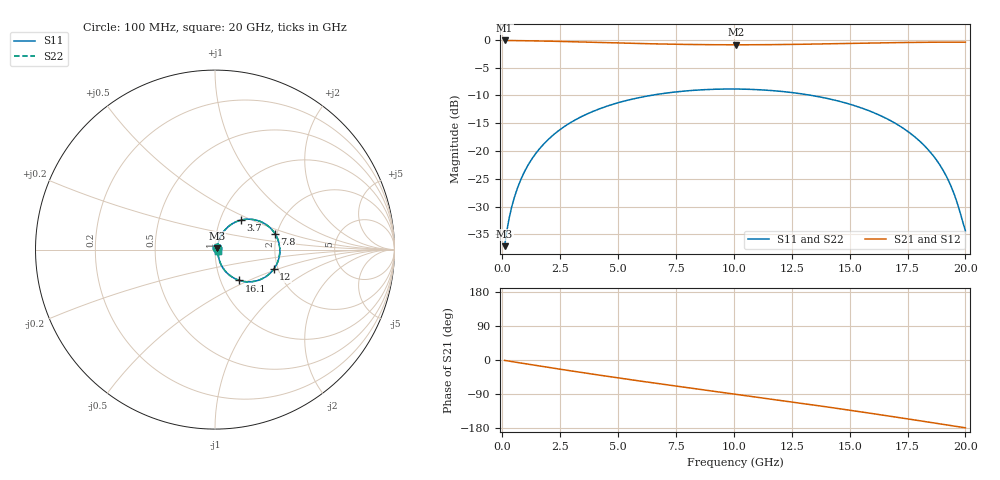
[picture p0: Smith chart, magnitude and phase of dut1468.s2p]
! Touchstone file exported from HFSS 2026.1.0
!  File:  C:/ffzhzh/LocalFiles/Ansys_Project_Files/temp_train_TSV_RDL_1468_1783361210_4416.aedt
!  Generated:  02:16:34 AM Jul  7, 2026
!  Design:  TSV_RDL
!  Project:  temp_train_TSV_RDL_1468_1783361210_4416
! Variables:
!  h_bsmrdl = 3.64um
!  h_ox = 20um
!  h_rdl = 5um
!  h_sub = 53.32um
!  h_tmrdl = 5.49um
!  h_tsv = 53.32um
!  h_via = 3um
!  l_bsmrdl = 474.21um
!  l_sub = 3226.39um
!  l_tmrdl = 316.2um
!  m_sub = 200um
!  pitch = 37.65um
!  r_tsv = 6.74um
!  s_tmrdl = 10um
!  w_bsmrdl = 22.63um
!  w_sub = 500um
!  w_tmrdl = 23.69um
!  x_tsv_center1 = 328.045um
!  x_tsv_center2 = 824.885um
!  x_tsv_center3 = 1164.775um
!  x_tsv_center4 = 1661.615um
!  x_tsv_center5 = 2001.505um
!  x_tsv_center6 = 2498.345um
# GHz S MA R 50.000000
! Terminal data exported
! Port[1] = TM_RDL1_1_T1
! Port[2] = TM_RDL5_1_T1
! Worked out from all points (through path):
!   200 points, 100 MHz to 20 GHz, reference 50 ohm
!   highest |S21| = -0.10 dB at 100 MHz (marker M1); lowest = -0.9 dB at 10.1 GHz (marker M2)
!   group delay of S21, straight-line fit = 24.3 ps
!   lowest |S11| = -37.1 dB at 100 MHz (marker M3), VSWR 1.03, Z = 51.2 + j0.768 ohm
!   |S11| at or under -10 dB: start of sweep to 6.405 GHz; 13.37 GHz to end of sweep
!   |S22| runs from -37.1 to -8.8 dB; largest |S21 - S12| = 1e-12
!   S11 on the Smith chart (normalised r, x): 100 MHz: 1.02, +0.02; 3.7 GHz: 1.25, +0.43; 7.8 GHz: 1.95, +0.40; 12 GHz: 1.89, -0.47; 16.1 GHz: 1.23, -0.44; 20 GHz: 1.03, -0.02
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0.1  0.01392 32.6  0.9884 -1.1  0.9884 -1.1  0.01392 32.6
! Gamma 0 0 0 0
! Port Impedance 50 0 50 0
0.3  0.0251 55.4  0.9866 -3.1  0.9866 -3.1  0.0251 55.4
0.5  0.03696 62.7  0.9854 -5.0  0.9854 -5.0  0.03696 62.7
0.8  0.0553 66.6  0.9837 -7.9  0.9837 -7.9  0.0553 66.6
1.2  0.07999 66.8  0.9811 -11.8  0.9811 -11.8  0.07999 66.8
1.7  0.1103 64.5  0.977 -16.7  0.977 -16.7  0.1103 64.5
2.2  0.1394 61.1  0.9721 -21.5  0.9721 -21.5  0.1394 61.1
3.5  0.2078 50.6  0.9568 -33.6  0.9568 -33.6  0.2078 50.6
3.7  0.2173 48.9  0.9543 -35.5  0.9543 -35.5  0.2173 48.9
5.2  0.2791 36.3  0.9357 -48.9  0.9357 -48.9  0.2791 36.3
6.8  0.326 23.1  0.9189 -62.8  0.9189 -62.8  0.326 23.1
7.8  0.3453 15.0  0.9111 -71.3  0.9111 -71.3  0.3453 15.0
10.1  0.3613 -3.4  0.9034 -90.5  0.9034 -90.5  0.3613 -3.4
12  0.3447 -18.5  0.908 -106.4  0.908 -106.4  0.3447 -18.6
13.4  0.3153 -29.8  0.9165 -118.4  0.9165 -118.4  0.3153 -29.8
16.1  0.2188 -51.7  0.9385 -142.4  0.9385 -142.4  0.2188 -51.7
16.7  0.1909 -56.4  0.943 -147.9  0.943 -147.9  0.1909 -56.4
17.9  0.1296 -64.8  0.9503 -159.1  0.9503 -159.1  0.1296 -64.9
18.8  0.08023 -68.3  0.9535 -167.6  0.9535 -167.6  0.0802 -68.5
19.4  0.04708 -65.0  0.9543 -173.2  0.9543 -173.2  0.04703 -65.2
19.7  0.03145 -56.3  0.9543 -176.1  0.9543 -176.1  0.03137 -56.5
20  0.01918 -29.6  0.954 -178.9  0.954 -178.9  0.01905 -29.8
